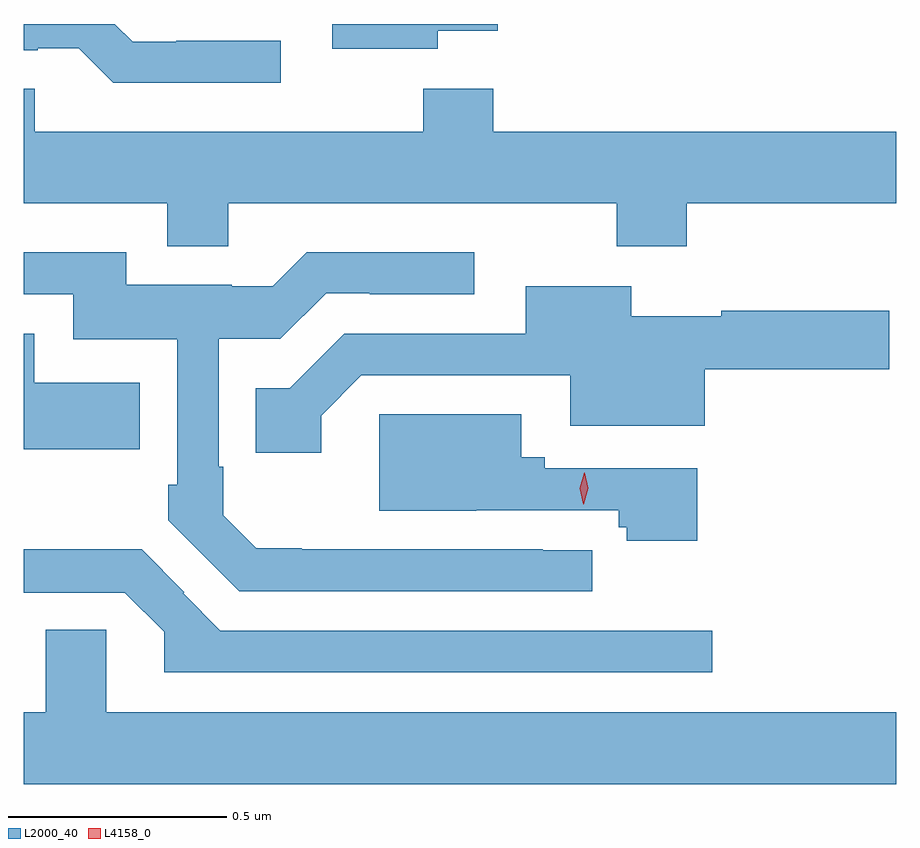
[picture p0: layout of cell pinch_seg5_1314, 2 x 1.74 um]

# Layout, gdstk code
import gdstk
lib = gdstk.Library(unit=1e-6, precision=1e-09)
def P(c, l, *ps):  # polygons
    for p in ps: c.add(gdstk.Polygon(p, *l))
L2000_40 = (2000, 40)
L4158_0 = (4158, 0)

pinch_seg5_1314 = lib.new_cell('pinch_seg5_1314')
P(pinch_seg5_1314, L2000_40, [(458.71,841.149),(458.47,841.149),(458.47,841.146),(458.37,841.146),(458.329,841.187),(458.121,841.187),(458.121,841.127),(458.153,841.127),(458.153,841.131),(458.247,841.131),(458.326,841.052),(458.71,841.052)],
  [(459.07,841.172),(459.208,841.172),(459.208,841.187),(458.828,841.187),(458.828,841.13),(459.07,841.13)],
  [(458.59,840.776),(459.481,840.776),(459.481,840.677),(459.641,840.677),(459.641,840.776),(460.121,840.776),(460.121,840.94),(459.197,840.94),(459.197,841.039),(459.037,841.039),(459.037,840.94),(458.146,840.94),(458.146,841.039),(458.121,841.039),(458.121,840.776),(458.45,840.776),(458.45,840.677),(458.59,840.677)],
  [(459.424,839.98),(459.311,839.98),(459.311,839.982),(458.758,839.982),(458.758,839.985),(458.654,839.985),(458.578,840.06),(458.578,840.172),(458.568,840.172),(458.568,840.465),(458.709,840.465),(458.814,840.57),(458.914,840.57),(458.914,840.567),(459.154,840.567),(459.154,840.664),(458.77,840.664),(458.691,840.585),(458.597,840.585),(458.597,840.589),(458.356,840.589),(458.356,840.663),(458.121,840.663),(458.121,840.567),(458.234,840.567),(458.234,840.464),(458.472,840.464),(458.472,840.13),(458.452,840.13),(458.452,840.049),(458.615,839.886),(459.424,839.886)],
  [(458.803,840.289),(458.895,840.381),(459.374,840.381),(459.374,840.266),(459.682,840.266),(459.682,840.395),(460.105,840.395),(460.105,840.529),(459.72,840.529),(459.72,840.517),(459.514,840.517),(459.514,840.586),(459.272,840.586),(459.272,840.477),(458.855,840.477),(458.73,840.352),(458.653,840.352),(458.653,840.204),(458.803,840.204)],
  [(458.387,840.364),(458.145,840.364),(458.145,840.477),(458.121,840.477),(458.121,840.212),(458.387,840.212)],
  [(459.665,840.168),(459.315,840.168),(459.315,840.193),(459.262,840.193),(459.262,840.292),(458.936,840.292),(458.936,840.071),(459.158,840.071),(459.158,840.072),(459.485,840.072),(459.485,840.033),(459.504,840.033),(459.504,840.002),(459.665,840.002)],
  [(459.7,839.796),(458.571,839.796),(458.486,839.881),(458.489,839.884),(458.391,839.982),(458.121,839.982),(458.121,839.883),(458.352,839.883),(458.443,839.793),(458.443,839.7),(459.7,839.7)],
  [(460.121,839.608),(458.31,839.608),(458.31,839.798),(458.171,839.798),(458.171,839.608),(458.121,839.608),(458.121,839.444),(460.121,839.444)])
P(pinch_seg5_1314, L4158_0, [(459.404,840.086),(459.396,840.122),(459.406,840.158),(459.406,840.158),(459.407,840.158),(459.415,840.122),(459.405,840.086),(459.405,840.086)])

lib.write_gds('pinch_seg5_1314.gds')
